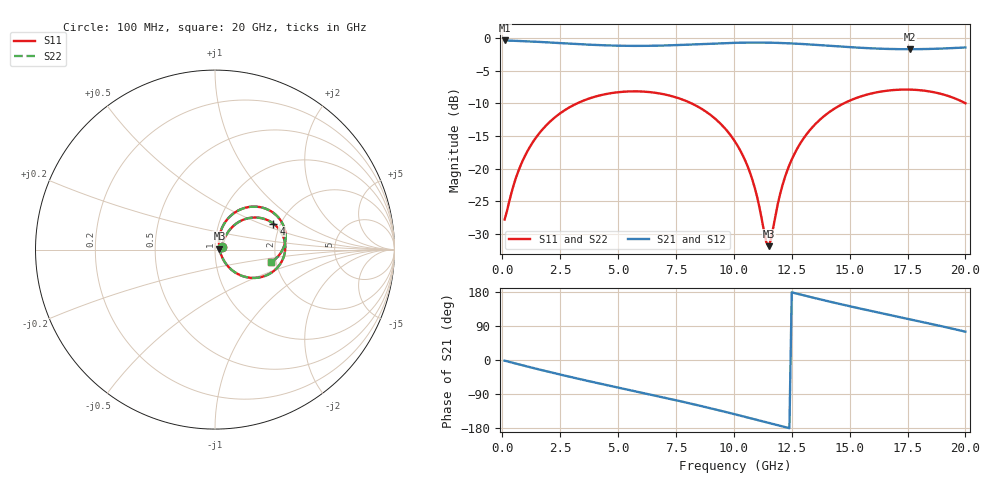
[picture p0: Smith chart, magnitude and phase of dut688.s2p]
! Touchstone file exported from HFSS 2026.1.0
!  File:  C:/ffzhzh/LocalFiles/Ansys_Project_Files/temp_train_TSV_RDL_688_1783135004_53076.aedt
!  Generated:  11:27:39 AM Jul  4, 2026
!  Design:  TSV_RDL
!  Project:  temp_train_TSV_RDL_688_1783135004_53076
! Variables:
!  h_bsmrdl = 2.31um
!  h_ox = 20um
!  h_rdl = 5um
!  h_sub = 97.64um
!  h_tmrdl = 3.72um
!  h_tsv = 97.64um
!  h_via = 3um
!  l_bsmrdl = 192.92um
!  l_sub = 4454.03um
!  l_tmrdl = 843.79um
!  m_sub = 200um
!  pitch = 25.1um
!  r_tsv = 3.91um
!  s_tmrdl = 10um
!  w_bsmrdl = 22.97um
!  w_sub = 500um
!  w_tmrdl = 10.4um
!  x_tsv_center1 = 848.99um
!  x_tsv_center2 = 1064.88um
!  x_tsv_center3 = 1919.07um
!  x_tsv_center4 = 2134.96um
!  x_tsv_center5 = 2989.15um
!  x_tsv_center6 = 3205.04um
# GHz S MA R 50.000000
! Terminal data exported
! Port[1] = TM_RDL1_1_T1
! Port[2] = TM_RDL5_1_T1
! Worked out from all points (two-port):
!   200 points, 100 MHz to 20 GHz, reference 50 ohm
!   highest |S21| = -0.34 dB at 100 MHz (marker M1); lowest = -1.7 dB at 17.6 GHz (marker M2)
!   |S21| within 3 dB of the highest: start of sweep to end of sweep
!   lowest |S11| = -31.9 dB at 11.5 GHz (marker M3), VSWR 1.05, Z = 52.5 + j0.622 ohm
!   |S11| at or under -10 dB: start of sweep to 3.22 GHz; 8.183 GHz to 14.74 GHz (6.556 GHz wide, 57.2 % of centre)
!   |S22| runs from -31.9 to -7.9 dB; largest |S21 - S12| = 1.6e-14
!   S11 on the Smith chart (normalised r, x): 100 MHz: 1.08, +0.03; 4 GHz: 1.84, +0.61; 20 GHz: 1.87, -0.30
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0.1  0.04081 17.5  0.9614 -1.7  0.9614 -1.7  0.04081 17.5
! Gamma 0 0 0 0
! Port Impedance 50 0 50 0
0.7  0.09667 52.0  0.9528 -11.3  0.9528 -11.3  0.09667 52.0
1.3  0.1579 52.7  0.9427 -20.5  0.9427 -20.5  0.1579 52.7
2.3  0.25 44.0  0.9223 -35.5  0.9223 -35.5  0.25 44.0
3.5  0.3324 30.0  0.8971 -52.5  0.8971 -52.5  0.3324 30.0
4  0.3564 23.9  0.8884 -59.4  0.8884 -59.4  0.3564 23.9
5.4  0.3908 6.9  0.8743 -78.1  0.8743 -78.1  0.3908 6.9
6.8  0.3773 -10.2  0.8778 -96.6  0.8778 -96.6  0.3773 -10.2
8.7  0.2812 -34.0  0.9036 -123.1  0.9036 -123.1  0.2812 -34.0
10.1  0.1563 -49.8  0.9225 -144.1  0.9225 -144.1  0.1564 -49.8
10.8  0.08248 -51.6  0.9264 -154.9  0.9264 -154.9  0.08249 -51.6
11.1  0.05122 -44.3  0.9264 -159.6  0.9264 -159.6  0.05124 -44.3
11.4  0.02736 -10.0  0.9253 -164.3  0.9253 -164.3  0.02737 -10.0
11.5  0.02553 13.4  0.9247 -165.9  0.9247 -165.9  0.02553 13.4
12  0.06422 69.0  0.9198 -173.7  0.9198 -173.7  0.06421 69.0
12.3  0.09618 72.6  0.9155 -178.4  0.9155 -178.4  0.09616 72.6
12.8  0.1492 70.8  0.9064 173.9  0.9064 173.9  0.1492 70.8
13.4  0.2088 65.0  0.8931 164.9  0.8931 164.9  0.2087 65.0
14.8  0.3202 48.4  0.8591 144.7  0.8591 144.7  0.3202 48.4
16.7  0.3979 25.7  0.8275 119.2  0.8275 119.2  0.398 25.7
17.6  0.4041 15.1  0.8238 107.4  0.8238 107.4  0.4041 15.1
20  0.3176 -13.0  0.8498 74.7  0.8498 74.7  0.3176 -13.0
